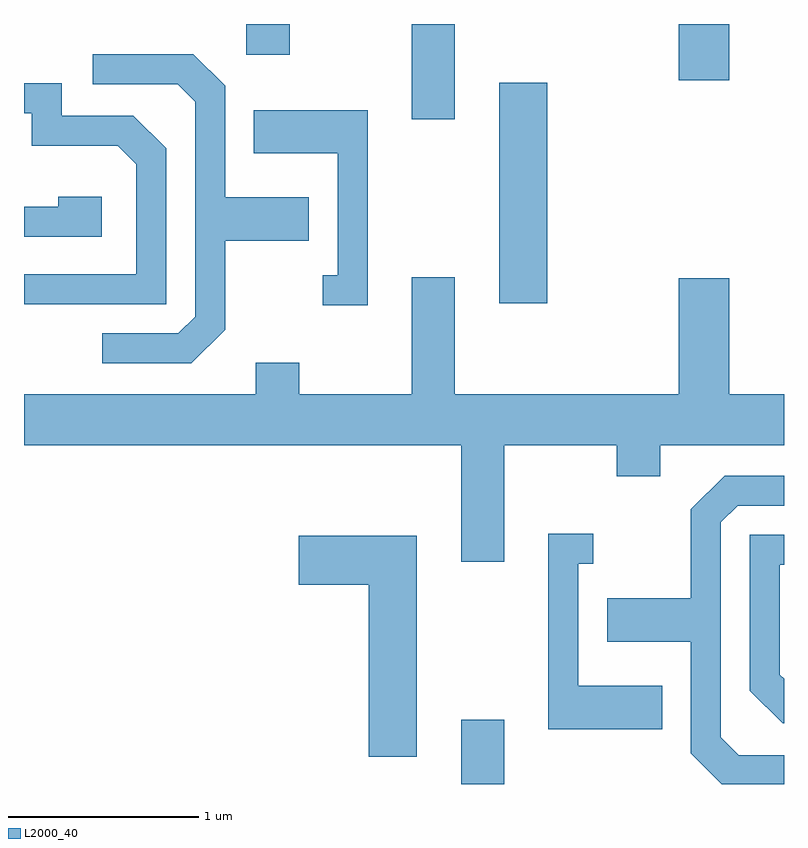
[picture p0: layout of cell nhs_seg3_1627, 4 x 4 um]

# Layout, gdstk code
import gdstk
lib = gdstk.Library(unit=1e-6, precision=1e-09)
def R(c, l, rs):  # rectangles x0, y0, x1, y1
    for r in rs: c.add(gdstk.rectangle(r[:2], r[2:], *l))
def P(c, l, *ps):  # polygons
    for p in ps: c.add(gdstk.Polygon(p, *l))
L2000_40 = (2000, 40)

nhs_seg3_1627 = lib.new_cell('nhs_seg3_1627')
R(nhs_seg3_1627, L2000_40, [(233.911,1241.892,234.139,1242.229), (234.111,1244.421,234.364,1245.584), (233.651,1245.391,233.879,1245.892), (235.056,1245.596,235.324,1245.892), (232.781,1245.731,233.009,1245.892)])
P(nhs_seg3_1627, L2000_40, [(232.669,1244.284),(232.669,1244.751),(233.109,1244.751),(233.109,1244.979),(232.669,1244.979),(232.669,1245.567),(232.502,1245.734),(231.973,1245.734),(231.973,1245.576),(232.419,1245.576),(232.511,1245.484),(232.511,1244.352),(232.424,1244.264),(232.023,1244.264),(232.023,1244.106),(232.492,1244.106)],
  [(232.359,1245.237),(232.187,1245.409),(231.809,1245.409),(231.809,1245.579),(231.611,1245.579),(231.611,1245.421),(231.651,1245.421),(231.651,1245.251),(232.104,1245.251),(232.201,1245.154),(232.201,1244.574),(231.611,1244.574),(231.611,1244.416),(232.359,1244.416)],
  [(233.419,1245.439),(232.821,1245.439),(232.821,1245.211),(233.261,1245.211),(233.261,1244.569),(233.183,1244.569),(233.183,1244.411),(233.419,1244.411)],
  [(232.019,1244.984),(231.791,1244.984),(231.791,1244.929),(231.611,1244.929),(231.611,1244.771),(232.019,1244.771)],
  [(234.139,1243.676),(234.731,1243.676),(234.731,1243.511),(234.959,1243.511),(234.959,1243.676),(235.611,1243.676),(235.611,1243.944),(235.324,1243.944),(235.324,1244.554),(235.056,1244.554),(235.056,1243.944),(233.879,1243.944),(233.879,1244.559),(233.651,1244.559),(233.651,1243.944),(233.059,1243.944),(233.059,1244.109),(232.831,1244.109),(232.831,1243.944),(231.611,1243.944),(231.611,1243.676),(233.911,1243.676),(233.911,1243.061),(234.139,1243.061)],
  [(235.611,1242.044),(235.372,1242.044),(235.279,1242.137),(235.279,1243.269),(235.367,1243.356),(235.611,1243.356),(235.611,1243.514),(235.299,1243.514),(235.121,1243.337),(235.121,1242.869),(234.681,1242.869),(234.681,1242.641),(235.121,1242.641),(235.121,1242.054),(235.283,1241.892),(235.611,1241.892)],
  [(234.969,1242.409),(234.529,1242.409),(234.529,1243.051),(234.608,1243.051),(234.608,1243.209),(234.371,1243.209),(234.371,1242.181),(234.969,1242.181)],
  [(235.611,1242.445),(235.589,1242.467),(235.589,1243.046),(235.611,1243.046),(235.611,1243.204),(235.431,1243.204),(235.431,1242.384),(235.604,1242.211),(235.611,1242.211)],
  [(233.679,1243.199),(233.056,1243.199),(233.056,1242.941),(233.426,1242.941),(233.426,1242.036),(233.679,1242.036)])

lib.write_gds('nhs_seg3_1627.gds')
